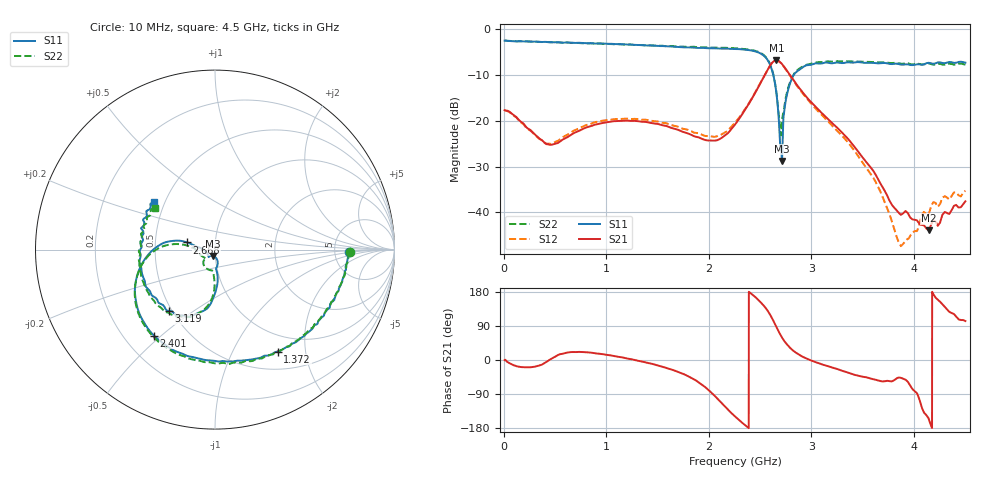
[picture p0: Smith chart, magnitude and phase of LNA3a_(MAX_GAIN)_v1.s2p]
! Created Tue Apr 16 19:45:25 2013
# ghz S ma R 50
! 2 Port Network Data from SP1.SP block
! freq  magS11  angS11  magS21  angS21  magS12  angS12  magS22  angS22
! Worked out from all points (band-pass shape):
!   4491 points, 10 MHz to 4.5 GHz, reference 50 ohm
!   highest |S21| = -6.78 dB at 2.659 GHz (marker M1); lowest = -43.9 dB at 4.141 GHz (marker M2)
!   |S21| within 3 dB of the highest: 2.551 GHz to 2.784 GHz (232.3 MHz wide, 8.71 % of centre)
!   lowest |S11| = -28.8 dB at 2.712 GHz (marker M3), VSWR 1.08, Z = 48.8 - j3.4 ohm
!   |S11| at or under -10 dB: 2.628 GHz to 2.828 GHz (199.9 MHz wide, 7.33 % of centre)
!   |S22| runs from -23.2 to -2.5 dB; largest |S21 - S12| = 0.011
!   S11 on the Smith chart (normalised r, x): 10 MHz: 6.95, -0.44; 1.372 GHz: 0.75, -1.53; 2.401 GHz: 0.32, -0.47; 2.668 GHz: 0.73, +0.06; 3.119 GHz: 0.48, -0.40; 4.5 GHz: 0.44, +0.28
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0.01  0.7493 -1.1  0.1303 -0.2  0.1289 -0.3  0.7519 -1.0
0.424  0.7224 -19.0  0.05536 -3.7  0.05616 -0.6  0.7234 -18.7
0.759  0.7062 -32.0  0.07997 21.2  0.085 21.5  0.7015 -31.6
1.372  0.6671 -58.3  0.09723 -5.4  0.1026 -6.4  0.6651 -58.6
1.507  0.6536 -64.8  0.09196 -14.9  0.0978 -15.6  0.6582 -65.2
2.034  0.6182 -94.2  0.06058 -88.4  0.0672 -85.7  0.6291 -94.0
2.255  0.6076 -110.5  0.09063 -148.9  0.09489 -144.7  0.6189 -109.9
2.401  0.5879 -125.3  0.1603 177.5  0.1622 -179.8  0.5956 -124.8
2.577  0.4515 -162.5  0.3664 128.5  0.3656 129.0  0.4581 -161.3
2.659  0.1989 165.7  0.4582 86.8  0.4549 86.6  0.2029 171.3
2.668  0.16 165.6  0.4546 81.9  0.4511 81.7  0.1652 171.4
2.696  0.05069 -164.1  0.435 67.3  0.4314 66.7  0.08199 -154.6
2.712  0.03628 -106.8  0.4168 59.8  0.4133 59.0  0.09306 -134.1
2.748  0.1626 -84.7  0.3688 45.5  0.3642 44.6  0.1743 -91.0
2.804  0.2789 -92.7  0.3004 28.9  0.2963 27.3  0.2854 -94.6
3.004  0.4104 -116.9  0.1564 -2.0  0.1516 -5.4  0.4207 -117.7
3.119  0.4275 -127.1  0.1157 -12.9  0.11 -17.5  0.4392 -127.0
3.585  0.4287 -161.6  0.03008 -49.5  0.02551 -63.4  0.4384 -158.0
3.752  0.4189 -173.6  0.01406 -55.5  0.01008 -87.7  0.4287 -168.9
3.877  0.4088 178.0  0.009464 -47.6  0.004324 -91.6  0.4183 -176.2
4.141  0.4296 163.9  0.00638 -153.9  0.009423 -178.0  0.4221 167.9
4.5  0.4302 142.1  0.01318 102.7  0.01721 115.4  0.409 145.4
